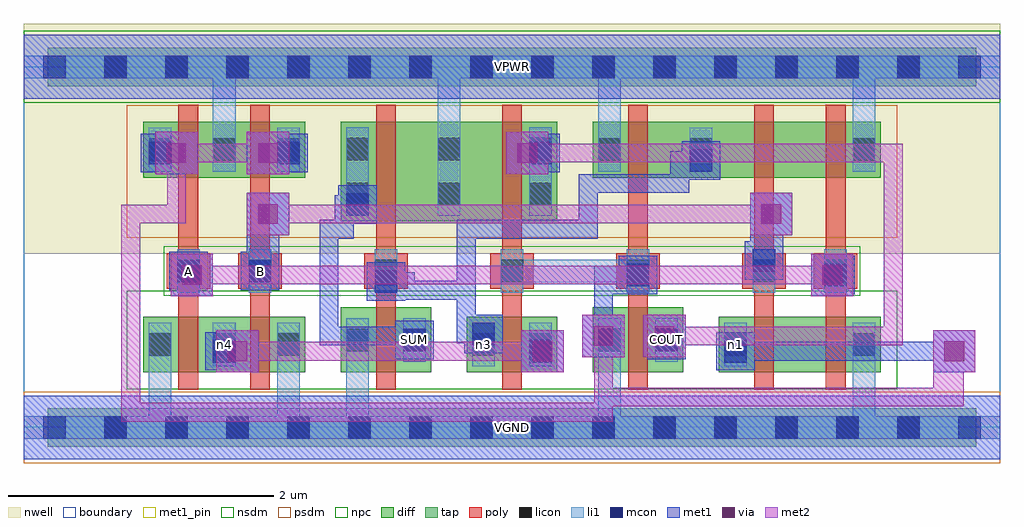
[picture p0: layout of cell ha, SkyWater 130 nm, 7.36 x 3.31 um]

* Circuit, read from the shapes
.subckt ha A B COUT SUM VGND VPWR n1 n3 n4
XM1 n4 A VGND VGND sky130_fd_pr__nfet_01v8 w=0.42 l=0.15
XM2 VGND B n4 VGND sky130_fd_pr__nfet_01v8 w=0.42 l=0.15
XM3 SUM n3 VGND VGND sky130_fd_pr__nfet_01v8 w=0.49 l=0.15
XM4 n4 n1 n3 VGND sky130_fd_pr__nfet_01v8 w=0.42 l=0.15
XM5 COUT n1 VGND VGND sky130_fd_pr__nfet_01v8 w=0.49 l=0.15
XM6 n2 B n1 VGND sky130_fd_pr__nfet_01v8 w=0.42 l=0.15
XM7 VGND A n2 VGND sky130_fd_pr__nfet_01v8 w=0.42 l=0.15
XM8 VPWR A n1 VPWR sky130_fd_pr__pfet_01v8 w=0.42 l=0.15
XM9 n1 B VPWR VPWR sky130_fd_pr__pfet_01v8 w=0.42 l=0.15
XM10 VPWR n3 SUM VPWR sky130_fd_pr__pfet_01v8 w=0.75 l=0.15
XM11 COUT n1 VPWR VPWR sky130_fd_pr__pfet_01v8 w=0.75 l=0.15
XM12 n3 n1 VPWR VPWR sky130_fd_pr__pfet_01v8 w=0.42 l=0.15
XM13 n5 B n3 VPWR sky130_fd_pr__pfet_01v8 w=0.42 l=0.15
XM14 VPWR A n5 VPWR sky130_fd_pr__pfet_01v8 w=0.42 l=0.15
.ends

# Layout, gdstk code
import gdstk
lib = gdstk.Library(unit=1e-6, precision=1e-09)
def R(c, l, rs):  # rectangles x0, y0, x1, y1
    for r in rs: c.add(gdstk.rectangle(r[:2], r[2:], *l))
def A(c, l, x, y, w, h, nx, ny, dx, dy):  # array of equal rectangles
    R(c, l, [(x+i*dx, y+j*dy, x+i*dx+w, y+j*dy+h) for i in range(nx) for j in range(ny)])
nwell = (64, 20)
diff = (65, 20)
tap = (65, 44)
poly = (66, 20)
licon = (66, 44)
li1 = (67, 20)
mcon = (67, 44)
met1_pin = (68, 16)
met1 = (68, 20)
via = (68, 44)
met2 = (69, 20)
nsdm = (93, 44)
psdm = (94, 20)
npc = (95, 20)
boundary = (235, 4)

c_ha = lib.new_cell('ha')
R(c_ha, nwell, [(0,1.31,7.36,3.045)])
R(c_ha, diff, [(0.9,0.415,2.12,0.835), (2.39,0.415,3.07,0.905), (3.34,0.415,4.02,0.835), (4.29,0.415,4.97,0.905), (5.24,0.415,6.46,0.835), (2.39,1.555,4.02,2.305), (0.9,1.885,2.12,2.305), (4.29,1.885,6.46,2.305)])
R(c_ha, tap, [(0.18,-0.145,7.18,0.145), (0.18,2.575,7.18,2.865)])
A(c_ha, poly, 1.705, 0.285, 0.15, 2.15, 5, 1, 0.95, 0)
A(c_ha, poly, 1.615, 1.045, 0.33, 0.27, 5, 1, 0.95, 0)
R(c_ha, poly, [(1.165,0.285,1.315,2.435), (6.045,0.285,6.195,2.435), (1.075,1.045,1.405,1.315), (5.955,1.045,6.285,1.315)])
A(c_ha, licon, 0.605, -0.085, 0.17, 0.17, 14, 2, 0.46, 2.72)
A(c_ha, licon, 0.94, 0.54, 0.17, 0.17, 3, 2, 0.485, 1.47)
A(c_ha, licon, 1.695, 1.095, 0.17, 0.17, 5, 1, 0.95, 0)
A(c_ha, licon, 2.43, 1.675, 0.17, 0.17, 3, 2, 0.69, 0.34)
R(c_ha, licon, [(3.38,0.54,3.55,0.71), (3.81,0.54,3.98,0.71), (5.28,0.54,5.45,0.71), (6.25,0.54,6.42,0.71), (2.43,0.575,2.6,0.745), (2.86,0.575,3.03,0.745), (4.33,0.575,4.5,0.745), (4.76,0.575,4.93,0.745), (1.155,1.095,1.325,1.265), (6.035,1.095,6.205,1.265), (4.33,2.01,4.5,2.18), (5.02,2.01,5.19,2.18), (6.25,2.01,6.42,2.18)])
A(c_ha, li1, 0.94, 0.46, 0.17, 0.33, 3, 2, 0.485, 1.47)
A(c_ha, li1, 1.695, 1.015, 0.17, 0.33, 5, 1, 0.95, 0)
A(c_ha, li1, 2.43, 1.595, 0.17, 0.67, 3, 1, 0.69, 0)
R(c_ha, li1, [(0,-0.085,7.36,0.085), (0.94,-0.085,1.11,0.79), (1.91,-0.085,2.08,0.79), (2.43,-0.085,2.6,0.825), (4.33,-0.085,4.5,0.825), (6.25,-0.085,6.42,0.79), (3.38,0.46,3.55,0.79), (3.81,0.46,3.98,0.79), (5.28,0.46,5.45,0.79), (6.25,0.46,6.42,0.79), (2.43,0.495,2.6,0.825), (2.86,0.495,3.03,0.825), (4.33,0.495,4.5,0.825), (4.76,0.495,4.93,0.825), (1.155,1.015,1.325,1.345), (6.035,1.015,6.205,1.345), (3.595,1.095,4.715,1.265), (3.12,1.595,3.29,2.805), (1.425,1.93,1.595,2.805), (4.33,1.93,4.5,2.26), (4.33,1.93,4.5,2.805), (5.02,1.93,5.19,2.26), (6.25,1.93,6.42,2.26), (6.25,1.93,6.42,2.805), (0,2.635,7.36,2.805)])
A(c_ha, mcon, 0.145, -0.085, 0.17, 0.17, 16, 2, 0.46, 2.72)
R(c_ha, mcon, [(1.425,0.49,1.595,0.66), (3.81,0.49,3.98,0.66), (5.28,0.49,5.45,0.66), (2.86,0.575,3.03,0.745), (4.76,0.575,4.93,0.745), (3.38,0.62,3.55,0.79), (2.645,1.015,2.815,1.185), (4.545,1.065,4.715,1.235), (6.035,1.065,6.205,1.235), (1.155,1.095,1.325,1.265), (1.695,1.095,1.865,1.265), (5.495,1.175,5.665,1.345), (2.43,1.595,2.6,1.765), (5.02,1.93,5.19,2.1), (0.94,1.985,1.11,2.155), (1.91,1.985,2.08,2.155), (3.81,1.985,3.98,2.155)])
R(c_ha, met1_pin, [(0,-0.24,7.36,0.24), (2.8,0.515,3.09,0.805), (4.7,0.515,4.99,0.805), (1.095,1.035,1.385,1.325), (1.635,1.035,1.925,1.325), (0,2.48,7.36,2.96)])
R(c_ha, met1, [(0,-0.24,7.36,0.24), (1.45,0.415,1.77,0.735), (3.75,0.415,4.07,0.735), (6.855,0.415,7.175,0.735), (1.365,0.43,1.655,0.72), (3.75,0.43,4.04,0.72), (5.22,0.43,5.51,0.72), (1.44,0.505,1.68,0.645), (3.825,0.505,3.98,0.645), (5.295,0.505,5.59,0.645), (5.45,0.505,7.085,0.645), (2.8,0.515,3.09,0.805), (4.7,0.515,4.99,0.805), (4.21,0.53,4.53,0.85), (4.67,0.53,4.99,0.85), (3.32,0.56,3.61,0.85), (2.23,0.62,2.945,0.76), (2.23,0.62,2.37,1.565), (2.805,0.62,2.945,0.76), (4.3,0.62,4.44,1.22), (4.76,0.62,4.9,0.76), (3.265,0.635,3.535,0.775), (3.265,0.635,3.405,0.875), (3.265,0.735,3.405,1.105), (2.585,0.955,2.875,1.245), (2.805,0.965,2.945,1.17), (2.805,0.965,3.405,1.105), (3.265,0.965,3.405,1.565), (1.105,0.99,1.425,1.31), (5.935,0.99,6.255,1.31), (4.44,1.005,4.485,1.22), (4.485,1.005,4.775,1.295), (5.975,1.005,6.265,1.295), (2.66,1.03,2.945,1.17), (1.095,1.035,1.385,1.325), (1.635,1.035,1.925,1.325), (1.195,1.08,1.335,1.22), (1.77,1.08,1.91,1.68), (1.77,1.08,1.91,1.22), (4.3,1.08,4.555,1.22), (4.415,1.08,4.7,1.22), (6.025,1.08,6.19,1.22), (5.435,1.115,5.725,1.405), (5.51,1.19,5.705,1.33), (5.565,1.19,5.705,1.45), (5.565,1.31,5.705,1.68), (1.68,1.325,1.925,1.45), (5.51,1.33,5.705,1.45), (5.475,1.405,5.725,1.45), (2.23,1.425,2.485,1.565), (2.345,1.425,2.485,1.75), (3.265,1.425,4.325,1.565), (4.185,1.425,4.325,1.91), (1.68,1.45,2,1.77), (5.475,1.45,5.795,1.77), (2.37,1.535,2.66,1.825), (2.345,1.61,2.585,1.75), (4.185,1.77,5.015,1.91), (4.875,1.77,5.015,2.085), (4.96,1.87,5.25,2.16), (0.99,1.91,1.31,2.23), (1.68,1.91,2,2.23), (3.635,1.91,3.955,2.23), (0.88,1.925,1.17,2.215), (1.85,1.925,2.14,2.215), (3.75,1.925,4.04,2.215), (4.875,1.945,5.175,2.085), (0.955,2,1.22,2.14), (1.77,2,2.065,2.14), (3.725,2,3.965,2.14), (0,2.48,7.36,2.96)])
R(c_ha, via, [(1.535,0.5,1.685,0.65), (3.835,0.5,3.985,0.65), (6.94,0.5,7.09,0.65), (4.295,0.615,4.445,0.765), (4.755,0.615,4.905,0.765), (1.19,1.075,1.34,1.225), (6.02,1.075,6.17,1.225), (1.765,1.535,1.915,1.685), (5.56,1.535,5.71,1.685), (1.075,1.995,1.225,2.145), (1.765,1.995,1.915,2.145), (3.72,1.995,3.87,2.145)])
R(c_ha, met2, [(0.735,0.045,0.875,1.68), (0.735,0.045,4.44,0.185), (4.3,0.045,4.44,0.76), (4.3,0.16,7.085,0.3), (6.945,0.16,7.085,0.645), (6.855,0.3,7.085,0.415), (1.45,0.415,1.77,0.735), (3.75,0.415,4.07,0.735), (6.855,0.415,7.175,0.735), (1.54,0.505,3.98,0.645), (4.21,0.53,4.53,0.85), (4.67,0.53,4.99,0.85), (4.76,0.62,6.625,0.76), (6.485,0.62,6.625,2.14), (1.105,0.99,1.425,1.31), (5.935,0.99,6.255,1.31), (1.195,1.08,6.165,1.22), (1.68,1.45,2,1.77), (5.475,1.45,5.795,1.77), (0.735,1.54,1.22,1.68), (1.08,1.54,1.22,2.14), (1.77,1.54,5.705,1.68), (0.99,1.91,1.31,2.23), (1.68,1.91,2,2.23), (3.635,1.91,3.955,2.23), (1.08,2,1.91,2.14), (3.725,2,6.625,2.14)])
R(c_ha, nsdm, [(0.775,0.29,6.585,1.03), (0,2.45,7.36,2.99)])
R(c_ha, psdm, [(0,-0.27,7.36,0.27), (0.775,1.43,6.585,2.43)])
R(c_ha, npc, [(1.055,0.995,6.305,1.365)])
R(c_ha, boundary, [(0,0,7.36,2.72)])
c_ha.add(gdstk.Label('n4', (1.51,0.625), layer=67, texttype=5))
c_ha.add(gdstk.Label('n3', (3.465,0.625), layer=67, texttype=5))
c_ha.add(gdstk.Label('n1', (5.365,0.625), layer=67, texttype=5))
c_ha.add(gdstk.Label('A', (1.24,1.18), layer=68, texttype=5))
c_ha.add(gdstk.Label('B', (1.78,1.18), layer=68, texttype=5))
c_ha.add(gdstk.Label('SUM', (2.945,0.66), layer=68, texttype=5))
c_ha.add(gdstk.Label('COUT', (4.845,0.66), layer=68, texttype=5))
c_ha.add(gdstk.Label('VPWR', (3.68,2.72), layer=68, texttype=5))
c_ha.add(gdstk.Label('VGND', (3.68,0), layer=68, texttype=5))
c_ha.add(gdstk.Label('A', (1.24,1.18), layer=68, texttype=16))
c_ha.add(gdstk.Label('B', (1.78,1.18), layer=68, texttype=16))
c_ha.add(gdstk.Label('SUM', (2.945,0.66), layer=68, texttype=16))
c_ha.add(gdstk.Label('COUT', (4.845,0.66), layer=68, texttype=16))
c_ha.add(gdstk.Label('VPWR', (3.68,2.72), layer=68, texttype=16))
c_ha.add(gdstk.Label('VGND', (3.68,0), layer=68, texttype=16))

lib.write_gds('ha.gds')
